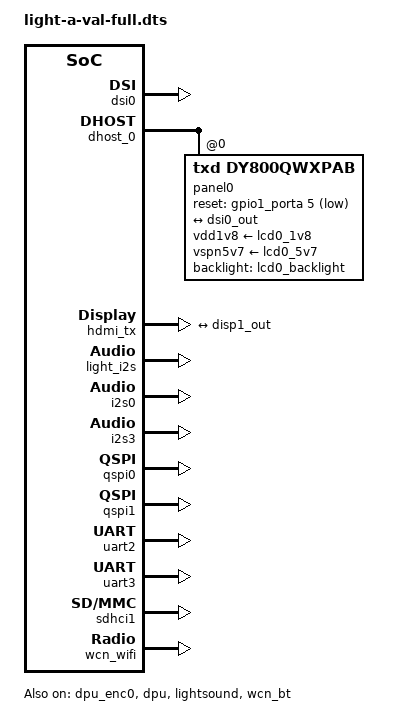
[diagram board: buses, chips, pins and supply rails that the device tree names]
/* SPDX-License-Identifier: GPL-2.0 */
/*
 * Copyright (C) 2022 Alibaba Group Holding Limited.
 */

#include "light-a-val.dts"

/ {
	display-subsystem {
		status = "okay";
	};
};

&dpu_enc0 {
	status = "okay";

	ports {
		/* output */
		port@1 {
			reg = <1>;

			enc0_out: endpoint {
				remote-endpoint = <&dsi0_in>;
			};
		};
	};
};

&dpu_enc1 {
        ports {
                /delete-node/ port@0;
        };
};

&dpu {
        status = "okay";
};

&dsi0 {
        status = "okay";
};

&dhost_0 {
	ports {
		#address-cells = <1>;
		#size-cells = <0>;

		port@0 {
			reg = <0>;

			dsi0_in: endpoint {
				remote-endpoint = <&enc0_out>;
			};
		};

		port@1 {
			reg = <1>;

			dsi0_out: endpoint {
				remote-endpoint = <&panel0_in>;
			};
		};
	};

	panel0@0 {
		compatible = "txd,dy800qwxpab";
		reg = <0>;
		backlight = <&lcd0_backlight>;
		reset-gpio = <&gpio1_porta 5 1>; /* active low */
		vdd1v8-supply = <&lcd0_1v8>;
		vspn5v7-supply = <&lcd0_5v7>;

		port {
			panel0_in: endpoint {
				remote-endpoint = <&dsi0_out>;
			};
		};
	};
};

&disp1_out {
	remote-endpoint = <&hdmi_tx_in>;
};

&hdmi_tx {
	status = "okay";

	port@0 {
		/* input */
		hdmi_tx_in: endpoint {
			remote-endpoint = <&disp1_out>;
		};
	};
};

&lightsound {
        status = "okay";

        simple-audio-card,dai-link@0 {          /* I2S - AUDIO SYS CODEC 8156*/
                reg = <0>;
                format = "i2s";
                cpu {
                        sound-dai = <&i2s0 0>;
                };
                codec {
                        sound-dai = <&es8156_audio_codec>;
                };
        };

        simple-audio-card,dai-link@1 {          /* I2S - AUDIO SYS CODEC 7210*/
                reg = <1>;
                format = "i2s";
                cpu {
                        sound-dai = <&i2s3 0>;
                };
                codec {
                        sound-dai = <&es7210_audio_codec>;
                };
        };
};

&light_i2s {
        status = "okay";
};

&i2s0 {
        status = "okay";
};

&i2s3 {
        status = "okay";
};

&qspi0 {
	status = "okay";
};


&qspi1 {
	status = "okay";
};

&uart2 {
	status = "okay";
};

&uart3 {
	status = "okay";
};

&sdhci1 {
	status = "okay";
};

&wcn_bt {
	status = "okay";
};

&wcn_wifi {
	status = "okay";
};
